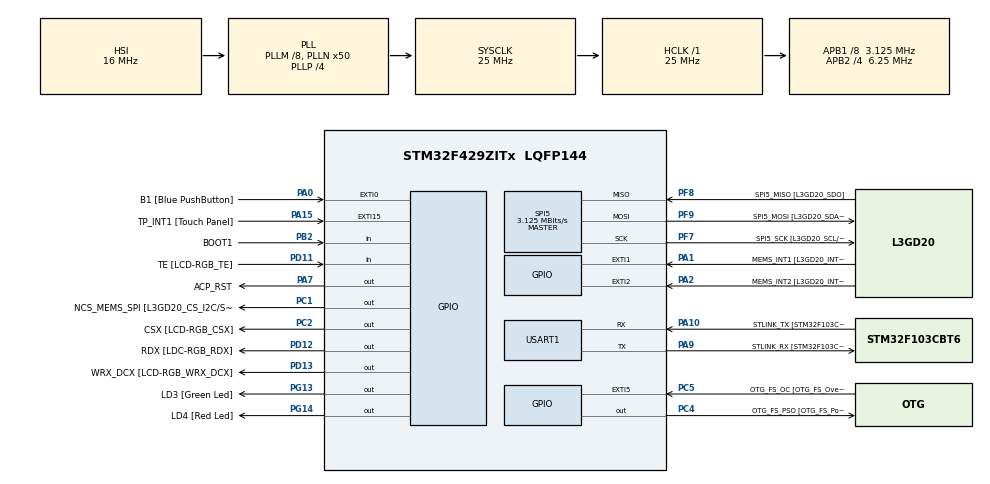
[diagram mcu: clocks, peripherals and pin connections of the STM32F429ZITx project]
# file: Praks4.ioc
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Dma.Request0=SPI5_RX
Dma.Request1=SPI5_TX
Dma.SPI5_RX.0.Direction=DMA_PERIPH_TO_MEMORY
Dma.SPI5_RX.0.FIFOMode=DMA_FIFOMODE_DISABLE
Dma.SPI5_RX.0.Instance=DMA2_Stream3
Dma.SPI5_RX.0.MemDataAlignment=DMA_MDATAALIGN_BYTE
Dma.SPI5_RX.0.MemInc=DMA_MINC_ENABLE
Dma.SPI5_RX.0.Mode=DMA_NORMAL
Dma.SPI5_RX.0.PeriphDataAlignment=DMA_PDATAALIGN_BYTE
Dma.SPI5_RX.0.PeriphInc=DMA_PINC_DISABLE
Dma.SPI5_RX.0.Priority=DMA_PRIORITY_LOW
Dma.SPI5_TX.1.Direction=DMA_MEMORY_TO_PERIPH
Dma.SPI5_TX.1.FIFOMode=DMA_FIFOMODE_DISABLE
Dma.SPI5_TX.1.Instance=DMA2_Stream4
Dma.SPI5_TX.1.MemDataAlignment=DMA_MDATAALIGN_BYTE
Dma.SPI5_TX.1.MemInc=DMA_MINC_ENABLE
Dma.SPI5_TX.1.Mode=DMA_NORMAL
Dma.SPI5_TX.1.PeriphDataAlignment=DMA_PDATAALIGN_BYTE
Dma.SPI5_TX.1.PeriphInc=DMA_PINC_DISABLE
Dma.SPI5_TX.1.Priority=DMA_PRIORITY_LOW
FREERTOS.Queues01=queue,16,uint16_t,0,Dynamic,NULL,NULL
FREERTOS.Tasks01=defaultTask,0,128,StartDefaultTask,Default,NULL,Dynamic,NULL,NULL
FREERTOS.configUSE_NEWLIB_REENTRANT=1
Mcu.Family=STM32F4
Mcu.Name=STM32F429ZITx
Mcu.Package=LQFP144
NVIC.DMA2_Stream3_IRQn=true\:5\:0\:false\:false\:true\:true\:false\:true\:true
NVIC.DMA2_Stream4_IRQn=true\:5\:0\:false\:false\:true\:true\:false\:true\:true
NVIC.EXTI2_IRQn=true\:5\:0\:false\:false\:true\:true\:true\:true\:true
NVIC.PriorityGroup=NVIC_PRIORITYGROUP_4
NVIC.SPI5_IRQn=true\:5\:0\:false\:false\:true\:true\:true\:true\:true
NVIC.TIM1_UP_TIM10_IRQn=true\:15\:0\:false\:false\:true\:false\:false\:true\:true
NVIC.TimeBase=TIM1_UP_TIM10_IRQn
NVIC.TimeBaseIP=TIM1
NVIC.USART1_IRQn=true\:5\:0\:false\:false\:true\:true\:true\:true\:true
PA0/WKUP.GPIO_Label=B1 [Blue PushButton]
PA0/WKUP.GPIO_ModeDefaultEXTI=GPIO_MODE_EVT_RISING
PA0/WKUP.GPIO_PuPd=GPIO_NOPULL
PA0/WKUP.Signal=GPXTI0
PA1.GPIO_Label=MEMS_INT1 [L3GD20_INT1]
PA1.GPIO_ModeDefaultEXTI=GPIO_MODE_EVT_RISING
PA1.GPIO_PuPd=GPIO_NOPULL
PA1.Signal=GPXTI1
PA10.GPIO_Label=STLINK_TX [STM32F103CBT6_PA2]
PA10.Mode=Asynchronous
PA10.Signal=USART1_RX
PA11.GPIO_Label=R4
PA11.GPIO_Mode=GPIO_MODE_AF_PP
PA11.GPIO_PuPd=GPIO_NOPULL
PA11.GPIO_Speed=GPIO_SPEED_FREQ_LOW
PA11.Signal=LTDC_R4
PA12.GPIO_Label=R5
PA12.GPIO_Mode=GPIO_MODE_AF_PP
PA12.GPIO_PuPd=GPIO_NOPULL
PA12.GPIO_Speed=GPIO_SPEED_FREQ_LOW
PA12.Signal=LTDC_R5
PA13.GPIO_Label=SWDIO
PA13.Signal=SYS_JTMS-SWDIO
PA14.GPIO_Label=SWCLK
PA14.Signal=SYS_JTCK-SWCLK
PA15.GPIO_Label=TP_INT1 [Touch Panel]
PA15.GPIO_ModeDefaultEXTI=GPIO_MODE_EVT_RISING
PA15.GPIO_PuPd=GPIO_NOPULL
PA15.Signal=GPXTI15
PA2.GPIO_Label=MEMS_INT2 [L3GD20_INT2]
PA2.GPIO_ModeDefaultEXTI=GPIO_MODE_IT_RISING
PA2.GPIO_PuPd=GPIO_NOPULL
PA2.Signal=GPXTI2
PA3.GPIO_Label=B5
PA3.GPIO_Mode=GPIO_MODE_AF_PP
PA3.GPIO_PuPd=GPIO_NOPULL
PA3.GPIO_Speed=GPIO_SPEED_FREQ_LOW
PA3.Signal=LTDC_B5
PA4.GPIO_Label=VSYNC
PA4.GPIO_Mode=GPIO_MODE_AF_PP
PA4.GPIO_PuPd=GPIO_NOPULL
PA4.GPIO_Speed=GPIO_SPEED_FREQ_LOW
PA4.Signal=LTDC_VSYNC
PA6.GPIO_Label=G2
PA6.GPIO_Mode=GPIO_MODE_AF_PP
PA6.GPIO_PuPd=GPIO_NOPULL
PA6.GPIO_Speed=GPIO_SPEED_FREQ_LOW
PA6.Signal=LTDC_G2
PA7.GPIO_Label=ACP_RST
PA7.GPIO_Mode=GPIO_MODE_OUTPUT_PP
PA7.GPIO_PuPd=GPIO_NOPULL
PA7.GPIO_Speed=GPIO_SPEED_FREQ_LOW
PA7.Signal=GPIO_Output
PA8.GPIO_Label=I2C3_SCL [ACP/RF_SCL]
PA8.GPIO_Mode=GPIO_MODE_AF_OD
PA8.GPIO_PuPd=GPIO_NOPULL
PA8.GPIO_Speed=GPIO_SPEED_FREQ_LOW
PA8.Signal=I2C3_SCL
PA9.GPIO_Label=STLINK_RX [STM32F103CBT6_PA3]
PA9.Mode=Asynchronous
PA9.Signal=USART1_TX
PB0.GPIO_Label=R3
PB0.GPIO_Mode=GPIO_MODE_AF_PP
PB0.GPIO_PuPd=GPIO_NOPULL
PB0.GPIO_Speed=GPIO_SPEED_FREQ_LOW
PB0.Signal=LTDC_R3
PB1.GPIO_Label=R6
PB1.GPIO_Mode=GPIO_MODE_AF_PP
PB1.GPIO_PuPd=GPIO_NOPULL
PB1.GPIO_Speed=GPIO_SPEED_FREQ_LOW
PB1.Signal=LTDC_R6
PB10.GPIO_Label=G4
PB10.GPIO_Mode=GPIO_MODE_AF_PP
PB10.GPIO_PuPd=GPIO_NOPULL
PB10.GPIO_Speed=GPIO_SPEED_FREQ_LOW
PB10.Signal=LTDC_G4
PB11.GPIO_Label=G5
PB11.GPIO_Mode=GPIO_MODE_AF_PP
PB11.GPIO_PuPd=GPIO_NOPULL
PB11.GPIO_Speed=GPIO_SPEED_FREQ_LOW
PB11.Signal=LTDC_G5
PB12.GPIO_Label=OTG_HS_ID
PB12.GPIO_Mode=GPIO_MODE_AF_PP
PB12.GPIO_PuPd=GPIO_NOPULL
PB12.GPIO_Speed=GPIO_SPEED_FREQ_LOW
PB12.Signal=USB_OTG_HS_ID
PB13.GPIO_Label=VBUS_HS
PB13.GPIO_Mode=GPIO_MODE_INPUT
PB13.GPIO_PuPd=GPIO_NOPULL
PB13.Signal=USB_OTG_HS_VBUS
PB14.GPIO_Label=OTG_HS_DM
PB14.GPIO_Mode=GPIO_MODE_AF_PP
PB14.GPIO_PuPd=GPIO_NOPULL
PB14.GPIO_Speed=GPIO_SPEED_FREQ_LOW
PB14.Signal=USB_OTG_HS_DM
PB15.GPIO_Label=OTG_HS_DP
PB15.GPIO_Mode=GPIO_MODE_AF_PP
PB15.GPIO_PuPd=GPIO_NOPULL
PB15.GPIO_Speed=GPIO_SPEED_FREQ_LOW
PB15.Signal=USB_OTG_HS_DP
PB2/BOOT1.GPIO_Label=BOOT1
PB2/BOOT1.GPIO_Mode=GPIO_MODE_INPUT
PB2/BOOT1.GPIO_PuPd=GPIO_NOPULL
PB2/BOOT1.Signal=GPIO_Input
PB5.GPIO_Label=SDCKE1
PB5.GPIO_Mode=GPIO_MODE_AF_PP
PB5.GPIO_PuPd=GPIO_NOPULL
PB5.GPIO_Speed=GPIO_SPEED_FREQ_VERY_HIGH
PB5.Signal=FMC_SDCKE1
PB6.GPIO_Label=SDNE1 [SDRAM_CS]
PB6.GPIO_Mode=GPIO_MODE_AF_PP
PB6.GPIO_PuPd=GPIO_NOPULL
PB6.GPIO_Speed=GPIO_SPEED_FREQ_VERY_HIGH
PB6.Signal=FMC_SDNE1
PB8.GPIO_Label=B6
PB8.GPIO_Mode=GPIO_MODE_AF_PP
PB8.GPIO_PuPd=GPIO_NOPULL
PB8.GPIO_Speed=GPIO_SPEED_FREQ_LOW
PB8.Signal=LTDC_B6
PB9.GPIO_Label=B7
PB9.GPIO_Mode=GPIO_MODE_AF_PP
PB9.GPIO_PuPd=GPIO_NOPULL
PB9.GPIO_Speed=GPIO_SPEED_FREQ_LOW
PB9.Signal=LTDC_B7
PC0.GPIO_Label=SDNWE
PC0.GPIO_Mode=GPIO_MODE_AF_PP
PC0.GPIO_PuPd=GPIO_NOPULL
PC0.GPIO_Speed=GPIO_SPEED_FREQ_VERY_HIGH
PC0.Signal=FMC_SDNWE
PC1.GPIO_Label=NCS_MEMS_SPI [L3GD20_CS_I2C/SPI]
PC1.GPIO_Mode=GPIO_MODE_OUTPUT_PP
PC1.GPIO_PuPd=GPIO_NOPULL
PC1.GPIO_Speed=GPIO_SPEED_FREQ_LOW
PC1.Signal=GPIO_Output
PC10.GPIO_Label=R2
PC10.GPIO_Mode=GPIO_MODE_AF_PP
PC10.GPIO_PuPd=GPIO_NOPULL
PC10.GPIO_Speed=GPIO_SPEED_FREQ_LOW
PC10.Signal=LTDC_R2
PC14/OSC32_IN.GPIO_Label=PC14-OSC32_IN
PC14/OSC32_IN.Signal=RCC_OSC32_IN
PC15/OSC32_OUT.GPIO_Label=PC15-OSC32_OUT
PC15/OSC32_OUT.Signal=RCC_OSC32_OUT
PC2.GPIO_Label=CSX [LCD-RGB_CSX]
PC2.GPIO_Mode=GPIO_MODE_OUTPUT_PP
PC2.GPIO_PuPd=GPIO_NOPULL
PC2.GPIO_Speed=GPIO_SPEED_FREQ_LOW
PC2.Signal=GPIO_Output
PC4.GPIO_Label=OTG_FS_PSO [OTG_FS_PowerSwitchOn]
PC4.GPIO_Mode=GPIO_MODE_OUTPUT_PP
PC4.GPIO_PuPd=GPIO_NOPULL
PC4.GPIO_Speed=GPIO_SPEED_FREQ_LOW
PC4.Signal=GPIO_Output
PC5.GPIO_Label=OTG_FS_OC [OTG_FS_OverCurrent]
PC5.GPIO_ModeDefaultEXTI=GPIO_MODE_EVT_RISING
PC5.Signal=GPXTI5
PC6.GPIO_Label=HSYNC
PC6.GPIO_Mode=GPIO_MODE_AF_PP
PC6.GPIO_PuPd=GPIO_NOPULL
PC6.GPIO_Speed=GPIO_SPEED_FREQ_LOW
PC6.Signal=LTDC_HSYNC
PC7.GPIO_Label=G6
PC7.GPIO_Mode=GPIO_MODE_AF_PP
PC7.GPIO_PuPd=GPIO_NOPULL
PC7.GPIO_Speed=GPIO_SPEED_FREQ_LOW
PC7.Signal=LTDC_G6
PC9.GPIO_Label=I2C3_SDA [ACP/RF_SDA]
PC9.GPIO_Mode=GPIO_MODE_AF_OD
PC9.GPIO_PuPd=GPIO_NOPULL
PC9.GPIO_Speed=GPIO_SPEED_FREQ_LOW
PC9.Signal=I2C3_SDA
PD0.GPIO_Label=D2
PD0.GPIO_Mode=GPIO_MODE_AF_PP
PD0.GPIO_PuPd=GPIO_NOPULL
PD0.GPIO_Speed=GPIO_SPEED_FREQ_VERY_HIGH
PD0.Signal=FMC_D2_DA2
PD1.GPIO_Label=D3
PD1.GPIO_Mode=GPIO_MODE_AF_PP
PD1.GPIO_PuPd=GPIO_NOPULL
PD1.GPIO_Speed=GPIO_SPEED_FREQ_VERY_HIGH
PD1.Signal=FMC_D3_DA3
PD10.GPIO_Label=D15
PD10.GPIO_Mode=GPIO_MODE_AF_PP
PD10.GPIO_PuPd=GPIO_NOPULL
PD10.GPIO_Speed=GPIO_SPEED_FREQ_VERY_HIGH
PD10.Signal=FMC_D15_DA15
PD11.GPIO_Label=TE [LCD-RGB_TE]
PD11.GPIO_Mode=GPIO_MODE_INPUT
PD11.GPIO_PuPd=GPIO_NOPULL
PD11.Signal=GPIO_Input
PD12.GPIO_Label=RDX [LDC-RGB_RDX]
PD12.GPIO_Mode=GPIO_MODE_OUTPUT_PP
PD12.GPIO_PuPd=GPIO_NOPULL
PD12.GPIO_Speed=GPIO_SPEED_FREQ_LOW
PD12.Signal=GPIO_Output
PD13.GPIO_Label=WRX_DCX [LCD-RGB_WRX_DCX]
PD13.GPIO_Mode=GPIO_MODE_OUTPUT_PP
PD13.GPIO_PuPd=GPIO_NOPULL
PD13.GPIO_Speed=GPIO_SPEED_FREQ_LOW
PD13.Signal=GPIO_Output
PD14.GPIO_Label=D0
PD14.GPIO_Mode=GPIO_MODE_AF_PP
PD14.GPIO_PuPd=GPIO_NOPULL
PD14.GPIO_Speed=GPIO_SPEED_FREQ_VERY_HIGH
PD14.Signal=FMC_D0_DA0
PD15.GPIO_Label=D1
PD15.GPIO_Mode=GPIO_MODE_AF_PP
PD15.GPIO_PuPd=GPIO_NOPULL
PD15.GPIO_Speed=GPIO_SPEED_FREQ_VERY_HIGH
PD15.Signal=FMC_D1_DA1
PD3.GPIO_Label=G7
PD3.GPIO_Mode=GPIO_MODE_AF_PP
PD3.GPIO_PuPd=GPIO_NOPULL
PD3.GPIO_Speed=GPIO_SPEED_FREQ_LOW
PD3.Signal=LTDC_G7
PD6.GPIO_Label=B2
PD6.GPIO_Mode=GPIO_MODE_AF_PP
PD6.GPIO_PuPd=GPIO_NOPULL
PD6.GPIO_Speed=GPIO_SPEED_FREQ_LOW
PD6.Signal=LTDC_B2
PD8.GPIO_Label=D13
PD8.GPIO_Mode=GPIO_MODE_AF_PP
PD8.GPIO_PuPd=GPIO_NOPULL
PD8.GPIO_Speed=GPIO_SPEED_FREQ_VERY_HIGH
PD8.Signal=FMC_D13_DA13
PD9.GPIO_Label=D14
PD9.GPIO_Mode=GPIO_MODE_AF_PP
PD9.GPIO_PuPd=GPIO_NOPULL
PD9.GPIO_Speed=GPIO_SPEED_FREQ_VERY_HIGH
PD9.Signal=FMC_D14_DA14
PE0.GPIO_Label=NBL0 [SDRAM_LDQM]
PE0.GPIO_Mode=GPIO_MODE_AF_PP
PE0.GPIO_PuPd=GPIO_NOPULL
PE0.GPIO_Speed=GPIO_SPEED_FREQ_VERY_HIGH
PE0.Signal=FMC_NBL0
PE1.GPIO_Label=NBL1 [SDRAM_UDQM]
PE1.GPIO_Mode=GPIO_MODE_AF_PP
PE1.GPIO_PuPd=GPIO_NOPULL
PE1.GPIO_Speed=GPIO_SPEED_FREQ_VERY_HIGH
PE1.Signal=FMC_NBL1
PE10.GPIO_Label=D7
PE10.GPIO_Mode=GPIO_MODE_AF_PP
PE10.GPIO_PuPd=GPIO_NOPULL
PE10.GPIO_Speed=GPIO_SPEED_FREQ_VERY_HIGH
PE10.Signal=FMC_D7_DA7
PE11.GPIO_Label=D8
PE11.GPIO_Mode=GPIO_MODE_AF_PP
PE11.GPIO_PuPd=GPIO_NOPULL
PE11.GPIO_Speed=GPIO_SPEED_FREQ_VERY_HIGH
PE11.Signal=FMC_D8_DA8
PE12.GPIO_Label=D9
PE12.GPIO_Mode=GPIO_MODE_AF_PP
PE12.GPIO_PuPd=GPIO_NOPULL
PE12.GPIO_Speed=GPIO_SPEED_FREQ_VERY_HIGH
PE12.Signal=FMC_D9_DA9
PE13.GPIO_Label=D10
PE13.GPIO_Mode=GPIO_MODE_AF_PP
PE13.GPIO_PuPd=GPIO_NOPULL
PE13.GPIO_Speed=GPIO_SPEED_FREQ_VERY_HIGH
PE13.Signal=FMC_D10_DA10
PE14.GPIO_Label=D11
PE14.GPIO_Mode=GPIO_MODE_AF_PP
PE14.GPIO_PuPd=GPIO_NOPULL
PE14.GPIO_Speed=GPIO_SPEED_FREQ_VERY_HIGH
PE14.Signal=FMC_D11_DA11
PE15.GPIO_Label=D12
PE15.GPIO_Mode=GPIO_MODE_AF_PP
PE15.GPIO_PuPd=GPIO_NOPULL
PE15.GPIO_Speed=GPIO_SPEED_FREQ_VERY_HIGH
PE15.Signal=FMC_D12_DA12
PE7.GPIO_Label=D4
PE7.GPIO_Mode=GPIO_MODE_AF_PP
PE7.GPIO_PuPd=GPIO_NOPULL
PE7.GPIO_Speed=GPIO_SPEED_FREQ_VERY_HIGH
PE7.Signal=FMC_D4_DA4
PE8.GPIO_Label=D5
PE8.GPIO_Mode=GPIO_MODE_AF_PP
PE8.GPIO_PuPd=GPIO_NOPULL
PE8.GPIO_Speed=GPIO_SPEED_FREQ_VERY_HIGH
PE8.Signal=FMC_D5_DA5
PE9.GPIO_Label=D6
PE9.GPIO_Mode=GPIO_MODE_AF_PP
PE9.GPIO_PuPd=GPIO_NOPULL
PE9.GPIO_Speed=GPIO_SPEED_FREQ_VERY_HIGH
PE9.Signal=FMC_D6_DA6
PF0.GPIO_Label=A0
PF0.GPIO_Mode=GPIO_MODE_AF_PP
PF0.GPIO_PuPd=GPIO_NOPULL
PF0.GPIO_Speed=GPIO_SPEED_FREQ_VERY_HIGH
PF0.Signal=FMC_A0
PF1.GPIO_Label=A1
PF1.GPIO_Mode=GPIO_MODE_AF_PP
PF1.GPIO_PuPd=GPIO_NOPULL
PF1.GPIO_Speed=GPIO_SPEED_FREQ_VERY_HIGH
PF1.Signal=FMC_A1
PF10.GPIO_Label=ENABLE [LCD-RGB_ENABLE]
PF10.GPIO_Mode=GPIO_MODE_AF_PP
PF10.GPIO_PuPd=GPIO_NOPULL
PF10.GPIO_Speed=GPIO_SPEED_FREQ_LOW
PF10.Signal=LTDC_DE
PF11.GPIO_Label=SDNRAS
PF11.GPIO_Mode=GPIO_MODE_AF_PP
PF11.GPIO_PuPd=GPIO_NOPULL
PF11.GPIO_Speed=GPIO_SPEED_FREQ_VERY_HIGH
PF11.Signal=FMC_SDNRAS
PF12.GPIO_Label=A6
PF12.GPIO_Mode=GPIO_MODE_AF_PP
PF12.GPIO_PuPd=GPIO_NOPULL
PF12.GPIO_Speed=GPIO_SPEED_FREQ_VERY_HIGH
PF12.Signal=FMC_A6
PF13.GPIO_Label=A7
PF13.GPIO_Mode=GPIO_MODE_AF_PP
PF13.GPIO_PuPd=GPIO_NOPULL
PF13.GPIO_Speed=GPIO_SPEED_FREQ_VERY_HIGH
PF13.Signal=FMC_A7
PF14.GPIO_Label=A8
PF14.GPIO_Mode=GPIO_MODE_AF_PP
PF14.GPIO_PuPd=GPIO_NOPULL
PF14.GPIO_Speed=GPIO_SPEED_FREQ_VERY_HIGH
PF14.Signal=FMC_A8
PF15.GPIO_Label=A9
PF15.GPIO_Mode=GPIO_MODE_AF_PP
PF15.GPIO_PuPd=GPIO_NOPULL
PF15.GPIO_Speed=GPIO_SPEED_FREQ_VERY_HIGH
PF15.Signal=FMC_A9
PF2.GPIO_Label=A2
PF2.GPIO_Mode=GPIO_MODE_AF_PP
PF2.GPIO_PuPd=GPIO_NOPULL
PF2.GPIO_Speed=GPIO_SPEED_FREQ_VERY_HIGH
PF2.Signal=FMC_A2
PF3.GPIO_Label=A3
PF3.GPIO_Mode=GPIO_MODE_AF_PP
PF3.GPIO_PuPd=GPIO_NOPULL
PF3.GPIO_Speed=GPIO_SPEED_FREQ_VERY_HIGH
PF3.Signal=FMC_A3
PF4.GPIO_Label=A4
PF4.GPIO_Mode=GPIO_MODE_AF_PP
PF4.GPIO_PuPd=GPIO_NOPULL
PF4.GPIO_Speed=GPIO_SPEED_FREQ_VERY_HIGH
PF4.Signal=FMC_A4
PF5.GPIO_Label=A5
PF5.GPIO_Mode=GPIO_MODE_AF_PP
PF5.GPIO_PuPd=GPIO_NOPULL
PF5.GPIO_Speed=GPIO_SPEED_FREQ_VERY_HIGH
PF5.Signal=FMC_A5
PF7.GPIO_Label=SPI5_SCK [L3GD20_SCL/SPC]
PF7.GPIO_Mode=GPIO_MODE_AF_PP
PF7.GPIO_PuPd=GPIO_NOPULL
PF7.GPIO_Speed=GPIO_SPEED_FREQ_LOW
PF7.Mode=Full_Duplex_Master
PF7.Signal=SPI5_SCK
PF8.GPIO_Label=SPI5_MISO [L3GD20_SDO]
PF8.GPIO_Mode=GPIO_MODE_AF_PP
PF8.GPIO_PuPd=GPIO_NOPULL
PF8.GPIO_Speed=GPIO_SPEED_FREQ_LOW
PF8.Mode=Full_Duplex_Master
PF8.Signal=SPI5_MISO
PF9.GPIO_Label=SPI5_MOSI [L3GD20_SDA/SDI/SDO]
PF9.GPIO_Mode=GPIO_MODE_AF_PP
PF9.GPIO_PuPd=GPIO_NOPULL
PF9.GPIO_Speed=GPIO_SPEED_FREQ_LOW
PF9.Mode=Full_Duplex_Master
PF9.Signal=SPI5_MOSI
PG0.GPIO_Label=A10
PG0.GPIO_Mode=GPIO_MODE_AF_PP
PG0.GPIO_PuPd=GPIO_NOPULL
PG0.GPIO_Speed=GPIO_SPEED_FREQ_VERY_HIGH
PG0.Signal=FMC_A10
PG1.GPIO_Label=A11
PG1.GPIO_Mode=GPIO_MODE_AF_PP
PG1.GPIO_PuPd=GPIO_NOPULL
PG1.GPIO_Speed=GPIO_SPEED_FREQ_VERY_HIGH
PG1.Signal=FMC_A11
PG10.GPIO_Label=G3
PG10.GPIO_Mode=GPIO_MODE_AF_PP
PG10.GPIO_PuPd=GPIO_NOPULL
PG10.GPIO_Speed=GPIO_SPEED_FREQ_LOW
PG10.Signal=LTDC_G3
PG11.GPIO_Label=B3
PG11.GPIO_Mode=GPIO_MODE_AF_PP
PG11.GPIO_PuPd=GPIO_NOPULL
PG11.GPIO_Speed=GPIO_SPEED_FREQ_LOW
PG11.Signal=LTDC_B3
PG12.GPIO_Label=B4
PG12.GPIO_Mode=GPIO_MODE_AF_PP
PG12.GPIO_PuPd=GPIO_NOPULL
PG12.GPIO_Speed=GPIO_SPEED_FREQ_LOW
PG12.Signal=LTDC_B4
PG13.GPIO_Label=LD3 [Green Led]
PG13.GPIO_Mode=GPIO_MODE_OUTPUT_PP
PG13.GPIO_PuPd=GPIO_NOPULL
PG13.GPIO_Speed=GPIO_SPEED_FREQ_LOW
PG13.Signal=GPIO_Output
PG14.GPIO_Label=LD4 [Red Led]
PG14.GPIO_Mode=GPIO_MODE_OUTPUT_PP
PG14.GPIO_PuPd=GPIO_NOPULL
PG14.GPIO_Speed=GPIO_SPEED_FREQ_LOW
PG14.Signal=GPIO_Output
PG15.GPIO_Label=SDNCAS
PG15.GPIO_Mode=GPIO_MODE_AF_PP
PG15.GPIO_PuPd=GPIO_NOPULL
PG15.GPIO_Speed=GPIO_SPEED_FREQ_VERY_HIGH
PG15.Signal=FMC_SDNCAS
PG4.GPIO_Label=BA0
PG4.GPIO_Mode=GPIO_MODE_AF_PP
PG4.GPIO_PuPd=GPIO_NOPULL
PG4.GPIO_Speed=GPIO_SPEED_FREQ_VERY_HIGH
PG4.Signal=FMC_A14_BA0
PG5.GPIO_Label=BA1
PG5.GPIO_Mode=GPIO_MODE_AF_PP
PG5.GPIO_PuPd=GPIO_NOPULL
PG5.GPIO_Speed=GPIO_SPEED_FREQ_VERY_HIGH
PG5.Signal=FMC_A15_BA1
PG6.GPIO_Label=R7
PG6.GPIO_Mode=GPIO_MODE_AF_PP
PG6.GPIO_PuPd=GPIO_NOPULL
PG6.GPIO_Speed=GPIO_SPEED_FREQ_LOW
PG6.Signal=LTDC_R7
PG7.GPIO_Label=DOTCLK [LCT-RGB_DOTCLK]
PG7.GPIO_Mode=GPIO_MODE_AF_PP
PG7.GPIO_PuPd=GPIO_NOPULL
PG7.GPIO_Speed=GPIO_SPEED_FREQ_LOW
PG7.Signal=LTDC_CLK
PG8.GPIO_Label=SDCLK
PG8.GPIO_Mode=GPIO_MODE_AF_PP
PG8.GPIO_PuPd=GPIO_NOPULL
PG8.GPIO_Speed=GPIO_SPEED_FREQ_VERY_HIGH
PG8.Signal=FMC_SDCLK
PH0/OSC_IN.GPIO_Label=PH0-OSC_IN
PH0/OSC_IN.Signal=RCC_OSC_IN
PH1/OSC_OUT.GPIO_Label=PH1-OSC_OUT
PH1/OSC_OUT.Signal=RCC_OSC_OUT
ProjectManager.HeapSize=0x200
ProjectManager.StackSize=0x400
ProjectManager.TargetToolchain=STM32CubeIDE
RCC.48MHZClocksFreq_Value=14285714.285714285
RCC.AHBFreq_Value=25000000
RCC.APB1CLKDivider=RCC_HCLK_DIV8
RCC.APB1Freq_Value=3125000
RCC.APB1TimFreq_Value=6250000
RCC.APB2CLKDivider=RCC_HCLK_DIV4
RCC.APB2Freq_Value=6250000
RCC.APB2TimFreq_Value=12500000
RCC.CortexFreq_Value=25000000
RCC.HCLKFreq_Value=25000000
RCC.HSE_VALUE=8000000
RCC.HSI_VALUE=16000000
RCC.LSE_VALUE=32768
RCC.PLLM=8
RCC.PLLN=50
RCC.PLLP=RCC_PLLP_DIV4
RCC.PLLQ=7
RCC.SYSCLKFreq_VALUE=25000000
RCC.SYSCLKSource=RCC_SYSCLKSOURCE_PLLCLK
RCC.VCOOutputFreq_Value=100000000
SH.FMC_A0.0=FMC_A0
SH.FMC_A1.0=FMC_A1
SH.FMC_A10.0=FMC_A10
SH.FMC_A11.0=FMC_A11
SH.FMC_A14_BA0.0=FMC_BA0
SH.FMC_A15_BA1.0=FMC_BA1
SH.FMC_A2.0=FMC_A2
SH.FMC_A3.0=FMC_A3
SH.FMC_A4.0=FMC_A4
SH.FMC_A5.0=FMC_A5
SH.FMC_A6.0=FMC_A6
SH.FMC_A7.0=FMC_A7
SH.FMC_A8.0=FMC_A8
SH.FMC_A9.0=FMC_A9
SH.FMC_D0_DA0.0=FMC_D0
SH.FMC_D10_DA10.0=FMC_D10
SH.FMC_D11_DA11.0=FMC_D11
SH.FMC_D12_DA12.0=FMC_D12
SH.FMC_D13_DA13.0=FMC_D13
SH.FMC_D14_DA14.0=FMC_D14
SH.FMC_D15_DA15.0=FMC_D15
SH.FMC_D1_DA1.0=FMC_D1
SH.FMC_D2_DA2.0=FMC_D2
SH.FMC_D3_DA3.0=FMC_D3
SH.FMC_D4_DA4.0=FMC_D4
SH.FMC_D5_DA5.0=FMC_D5
SH.FMC_D6_DA6.0=FMC_D6
SH.FMC_D7_DA7.0=FMC_D7
SH.FMC_D8_DA8.0=FMC_D8
SH.FMC_D9_DA9.0=FMC_D9
SH.FMC_NBL0.0=FMC_NBL0
SH.FMC_NBL1.0=FMC_NBL1
SH.FMC_SDCLK.0=FMC_SDCLK
SH.FMC_SDNCAS.0=FMC_SDNCAS
SH.FMC_SDNRAS.0=FMC_SDNRAS
SH.FMC_SDNWE.0=FMC_SDNWE
SPI5.CalculateBaudRate=3.125 MBits/s
SPI5.Direction=SPI_DIRECTION_2LINES
SPI5.Mode=SPI_MODE_MASTER
SPI5.VirtualType=VM_MASTER
USART1.VirtualMode=VM_ASYNC
VP_FREERTOS_VS_CMSIS_V1.Mode=CMSIS_V1
VP_SYS_VS_tim1.Mode=TIM1
board=STM32F429I-DISC1

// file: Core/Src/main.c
/* USER CODE BEGIN Header */
/**
 ******************************************************************************
 * @file           : main.c
 * @brief          : Main program body
 ******************************************************************************
 * @attention
 *
 * Copyright (c) 2025 STMicroelectronics.
 * All rights reserved.
 *
 * This software is licensed under terms that can be found in the LICENSE file
 * in the root directory of this software component.
 * If no LICENSE file comes with this software, it is provided AS-IS.
 *
 ******************************************************************************
 */
/* USER CODE END Header */
#include "main.h"
#include "cmsis_os.h"
#include "dma.h"
#include "spi.h"
#include "usart.h"
#include "gpio.h"

/* USER CODE BEGIN Includes */
#include "log.h"
#include "gyro.h"
#include "FreeRTOS.h"
/* USER CODE END Includes */

void SystemClock_Config(void);
void MX_FREERTOS_Init(void);

/* USER CODE BEGIN 0 */
void HAL_GPIO_EXTI_Callback(uint16_t GPIO_Pin) {
    if (GPIO_Pin == MEMS_INT2_Pin) {
        Gyro_handleInt2IRQ();
    }
}
/* USER CODE END 0 */

int main(void)
{

  /* MCU Configuration--------------------------------------------------------*/

  /* Reset of all peripherals, Initializes the Flash interface and the Systick. */
  HAL_Init();

  /* Configure the system clock */
  SystemClock_Config();

  /* Initialize all configured peripherals */
  MX_GPIO_Init();
  MX_DMA_Init();
  MX_SPI5_Init();
  MX_USART1_UART_Init();
  /* USER CODE BEGIN 2 */
	uint8_t res = Gyro_CanReadWHOAMI();

  /* USER CODE END 2 */

  /* Call init function for freertos objects (in cmsis_os2.c) */
  MX_FREERTOS_Init();

  /* Start scheduler */
  osKernelStart();

  /* We should never get here as control is now taken by the scheduler */

  /* Infinite loop */
  /* USER CODE BEGIN WHILE */
	Gyro_Init();
	while (1) {
    /* USER CODE END WHILE */

	}
}

void SystemClock_Config(void)
{
  RCC_OscInitTypeDef RCC_OscInitStruct = {0};
  RCC_ClkInitTypeDef RCC_ClkInitStruct = {0};

  /** Configure the main internal regulator output voltage
  */
  __HAL_RCC_PWR_CLK_ENABLE();
  __HAL_PWR_VOLTAGESCALING_CONFIG(PWR_REGULATOR_VOLTAGE_SCALE3);

  /** Initializes the RCC Oscillators according to the specified parameters
  * in the RCC_OscInitTypeDef structure.
  */
  RCC_OscInitStruct.OscillatorType = RCC_OSCILLATORTYPE_HSI;
  RCC_OscInitStruct.HSIState = RCC_HSI_ON;
  RCC_OscInitStruct.HSICalibrationValue = RCC_HSICALIBRATION_DEFAULT;
  RCC_OscInitStruct.PLL.PLLState = RCC_PLL_ON;
  RCC_OscInitStruct.PLL.PLLSource = RCC_PLLSOURCE_HSI;
  RCC_OscInitStruct.PLL.PLLM = 8;
  RCC_OscInitStruct.PLL.PLLN = 50;
  RCC_OscInitStruct.PLL.PLLP = RCC_PLLP_DIV4;
  RCC_OscInitStruct.PLL.PLLQ = 7;
  if (HAL_RCC_OscConfig(&RCC_OscInitStruct) != HAL_OK)
  {
    Error_Handler();
  }

  /** Initializes the CPU, AHB and APB buses clocks
  */
  RCC_ClkInitStruct.ClockType = RCC_CLOCKTYPE_HCLK|RCC_CLOCKTYPE_SYSCLK
                              |RCC_CLOCKTYPE_PCLK1|RCC_CLOCKTYPE_PCLK2;
  RCC_ClkInitStruct.SYSCLKSource = RCC_SYSCLKSOURCE_PLLCLK;
  RCC_ClkInitStruct.AHBCLKDivider = RCC_SYSCLK_DIV1;
  RCC_ClkInitStruct.APB1CLKDivider = RCC_HCLK_DIV8;
  RCC_ClkInitStruct.APB2CLKDivider = RCC_HCLK_DIV4;

  if (HAL_RCC_ClockConfig(&RCC_ClkInitStruct, FLASH_LATENCY_0) != HAL_OK)
  {
    Error_Handler();
  }
}

void HAL_TIM_PeriodElapsedCallback(TIM_HandleTypeDef *htim)
{
  if (htim->Instance == TIM1)
  {
    HAL_IncTick();
  }
}

void Error_Handler(void)
{
	__disable_irq();
	while (1) {
	}
}

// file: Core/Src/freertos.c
/* USER CODE BEGIN Header */
/**
 ******************************************************************************
 * File Name          : freertos.c
 * Description        : Code for freertos applications
 ******************************************************************************
 * @attention
 *
 * Copyright (c) 2025 STMicroelectronics.
 * All rights reserved.
 *
 * This software is licensed under terms that can be found in the LICENSE file
 * in the root directory of this software component.
 * If no LICENSE file comes with this software, it is provided AS-IS.
 *
 ******************************************************************************
 */
/* USER CODE END Header */

#include "FreeRTOS.h"
#include "task.h"
#include "main.h"
#include "cmsis_os.h"

/* USER CODE BEGIN Includes */
#include "gyro.h"
#include "log.h"
/* USER CODE END Includes */

osThreadId defaultTaskHandle;
osMessageQId queueHandle;

void StartDefaultTask(void const *argument);

void MX_FREERTOS_Init(void); /* (MISRA C 2004 rule 8.1) */

/* GetIdleTaskMemory prototype (linked to static allocation support) */
void vApplicationGetIdleTaskMemory(StaticTask_t **ppxIdleTaskTCBBuffer,
		StackType_t **ppxIdleTaskStackBuffer, uint32_t *pulIdleTaskStackSize);

/* USER CODE BEGIN GET_IDLE_TASK_MEMORY */
static StaticTask_t xIdleTaskTCBBuffer;
static StackType_t xIdleStack[configMINIMAL_STACK_SIZE];

void vApplicationGetIdleTaskMemory(StaticTask_t **ppxIdleTaskTCBBuffer,
		StackType_t **ppxIdleTaskStackBuffer, uint32_t *pulIdleTaskStackSize) {
	*ppxIdleTaskTCBBuffer = &xIdleTaskTCBBuffer;
	*ppxIdleTaskStackBuffer = &xIdleStack[0];
	*pulIdleTaskStackSize = configMINIMAL_STACK_SIZE;
	/* place for user code */
}
/* USER CODE END GET_IDLE_TASK_MEMORY */

void MX_FREERTOS_Init(void) {

	/* Create the queue(s) */
	/* definition and creation of queue */
	osMessageQDef(queue, 16, uint16_t);
	queueHandle = osMessageCreate(osMessageQ(queue), NULL);

	/* Create the thread(s) */
	/* definition and creation of defaultTask */
	osThreadDef(defaultTask, StartDefaultTask, osPriorityNormal, 0, 128);
	defaultTaskHandle = osThreadCreate(osThread(defaultTask), NULL);

}

void StartDefaultTask(void const *argument) {
	/* USER CODE BEGIN StartDefaultTask */
	Gyro_xyz_data xyz;
	/* Infinite loop */
	for (;;) {
		if (Gyro_rtosGet(&xyz, 1000)) {
			LOG_DEBUG(" %d %d %d", xyz.x, xyz.y, xyz.z);
		} else {
			LOG_DEBUG("Gyro timeout");
		}
	}
	/* USER CODE END StartDefaultTask */
}
